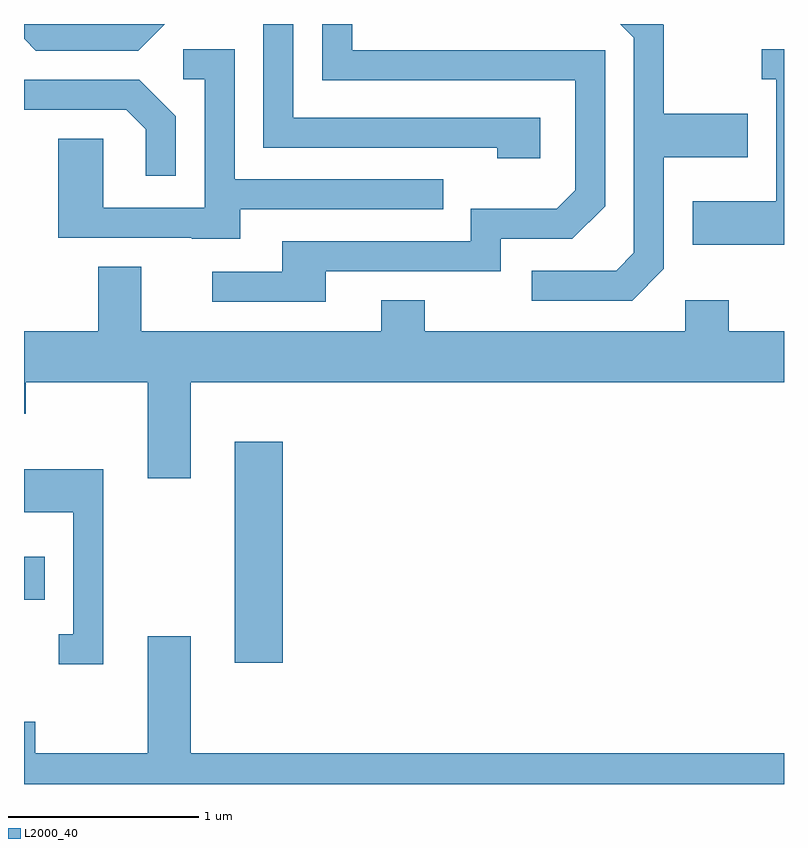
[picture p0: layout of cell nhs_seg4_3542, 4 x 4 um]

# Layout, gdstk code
import gdstk
lib = gdstk.Library(unit=1e-6, precision=1e-09)
def R(c, l, rs):  # rectangles x0, y0, x1, y1
    for r in rs: c.add(gdstk.rectangle(r[:2], r[2:], *l))
def P(c, l, *ps):  # polygons
    for p in ps: c.add(gdstk.Polygon(p, *l))
L2000_40 = (2000, 40)

nhs_seg4_3542 = lib.new_cell('nhs_seg4_3542')
R(nhs_seg4_3542, L2000_40, [(290.721,1266.621,290.974,1267.784), (289.611,1266.951,289.719,1267.179)])
P(nhs_seg4_3542, L2000_40, [(290.353,1269.982),(289.611,1269.982),(289.611,1269.904),(289.674,1269.841),(290.212,1269.841)],
  [(292.329,1269.489),(291.029,1269.489),(291.029,1269.982),(290.871,1269.982),(290.871,1269.331),(292.101,1269.331),(292.101,1269.276),(292.329,1269.276)],
  [(292.979,1268.694),(292.979,1269.281),(293.419,1269.281),(293.419,1269.509),(292.979,1269.509),(292.979,1269.977),(292.974,1269.982),(292.748,1269.982),(292.821,1269.909),(292.821,1268.777),(292.729,1268.684),(292.283,1268.684),(292.283,1268.526),(292.812,1268.526)],
  [(291.199,1268.681),(292.119,1268.681),(292.119,1268.851),(292.497,1268.851),(292.669,1269.024),(292.669,1269.844),(291.339,1269.844),(291.339,1269.982),(291.181,1269.982),(291.181,1269.686),(292.511,1269.686),(292.511,1269.107),(292.414,1269.009),(291.961,1269.009),(291.961,1268.839),(290.971,1268.839),(290.971,1268.679),(290.603,1268.679),(290.603,1268.521),(291.199,1268.521)],
  [(293.611,1269.849),(293.493,1269.849),(293.493,1269.691),(293.571,1269.691),(293.571,1269.049),(293.131,1269.049),(293.131,1268.821),(293.611,1268.821)],
  [(290.749,1269.006),(291.818,1269.006),(291.818,1269.164),(290.719,1269.164),(290.719,1269.849),(290.448,1269.849),(290.448,1269.691),(290.561,1269.691),(290.561,1269.014),(290.029,1269.014),(290.029,1269.379),(289.791,1269.379),(289.791,1268.856),(290.495,1268.856),(290.495,1268.851),(290.749,1268.851)],
  [(290.409,1269.497),(290.217,1269.689),(289.611,1269.689),(289.611,1269.531),(290.149,1269.531),(290.251,1269.429),(290.251,1269.183),(290.409,1269.183)],
  [(290.489,1268.096),(293.611,1268.096),(293.611,1268.364),(293.319,1268.364),(293.319,1268.529),(293.091,1268.529),(293.091,1268.364),(291.719,1268.364),(291.719,1268.529),(291.491,1268.529),(291.491,1268.364),(290.229,1268.364),(290.229,1268.704),(290.001,1268.704),(290.001,1268.364),(289.611,1268.364),(289.611,1267.931),(289.619,1267.931),(289.619,1268.096),(290.261,1268.096),(290.261,1267.591),(290.489,1267.591)],
  [(290.029,1267.639),(289.611,1267.639),(289.611,1267.411),(289.871,1267.411),(289.871,1266.769),(289.793,1266.769),(289.793,1266.611),(290.029,1266.611)],
  [(293.611,1266.144),(290.489,1266.144),(290.489,1266.759),(290.261,1266.759),(290.261,1266.144),(289.669,1266.144),(289.669,1266.309),(289.611,1266.309),(289.611,1265.982),(293.611,1265.982)])

lib.write_gds('nhs_seg4_3542.gds')
